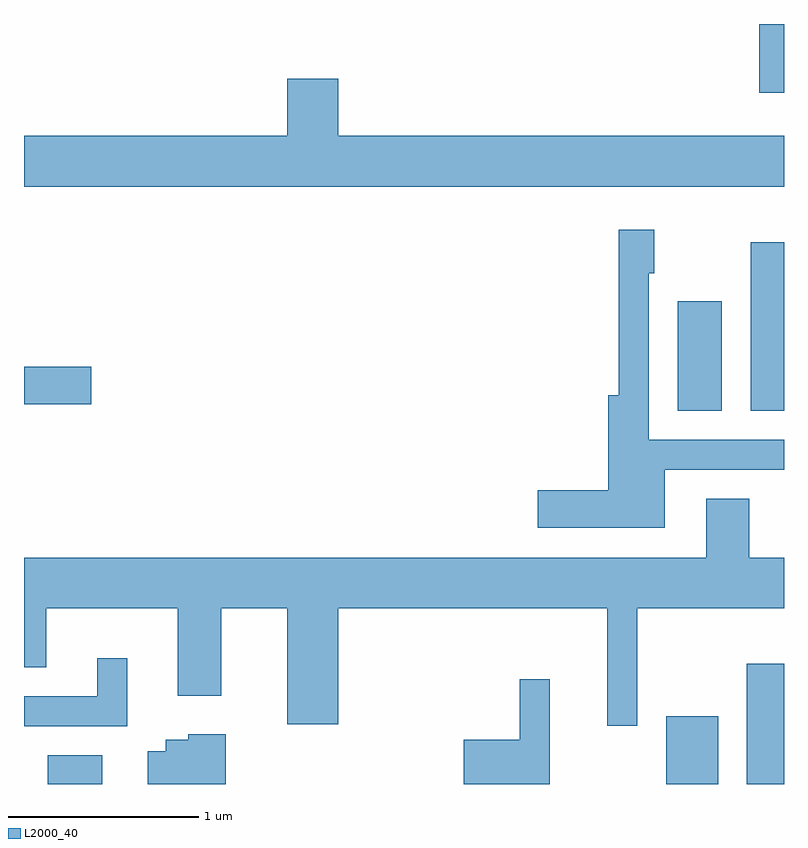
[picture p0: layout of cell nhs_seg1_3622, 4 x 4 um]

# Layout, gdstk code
import gdstk
lib = gdstk.Library(unit=1e-6, precision=1e-09)
def R(c, l, rs):  # rectangles x0, y0, x1, y1
    for r in rs: c.add(gdstk.rectangle(r[:2], r[2:], *l))
def P(c, l, *ps):  # polygons
    for p in ps: c.add(gdstk.Polygon(p, *l))
L2000_40 = (2000, 40)

nhs_seg1_3622 = lib.new_cell('nhs_seg1_3622')
R(nhs_seg1_3622, L2000_40, [(293.736,949.712,294.024,949.864), (296.991,949.712,297.264,950.069), (297.416,949.712,297.611,950.344), (297.051,951.676,297.284,952.254), (297.436,951.676,297.611,952.564), (293.611,951.711,293.964,951.909), (297.481,953.351,297.611,953.712)])
P(nhs_seg1_3622, L2000_40, [(297.611,953.124),(295.264,953.124),(295.264,953.424),(294.996,953.424),(294.996,953.124),(293.611,953.124),(293.611,952.856),(297.611,952.856)],
  [(296.984,951.366),(297.611,951.366),(297.611,951.524),(296.899,951.524),(296.899,952.401),(296.929,952.401),(296.929,952.629),(296.741,952.629),(296.741,951.759),(296.686,951.759),(296.686,951.259),(296.316,951.259),(296.316,951.061),(296.984,951.061)],
  [(296.839,950.636),(297.611,950.636),(297.611,950.904),(297.429,950.904),(297.429,951.214),(297.201,951.214),(297.201,950.904),(293.611,950.904),(293.611,950.326),(293.729,950.326),(293.729,950.636),(294.421,950.636),(294.421,950.176),(294.649,950.176),(294.649,950.636),(294.996,950.636),(294.996,950.026),(295.264,950.026),(295.264,950.636),(296.681,950.636),(296.681,950.018),(296.839,950.018)],
  [(294.154,950.373),(293.996,950.373),(293.996,950.174),(293.611,950.174),(293.611,950.016),(294.154,950.016)],
  [(296.379,950.263),(296.221,950.263),(296.221,949.944),(295.926,949.944),(295.926,949.712),(296.379,949.712)],
  [(294.674,949.974),(294.476,949.974),(294.476,949.944),(294.356,949.944),(294.356,949.884),(294.261,949.884),(294.261,949.712),(294.674,949.712)])

lib.write_gds('nhs_seg1_3622.gds')
